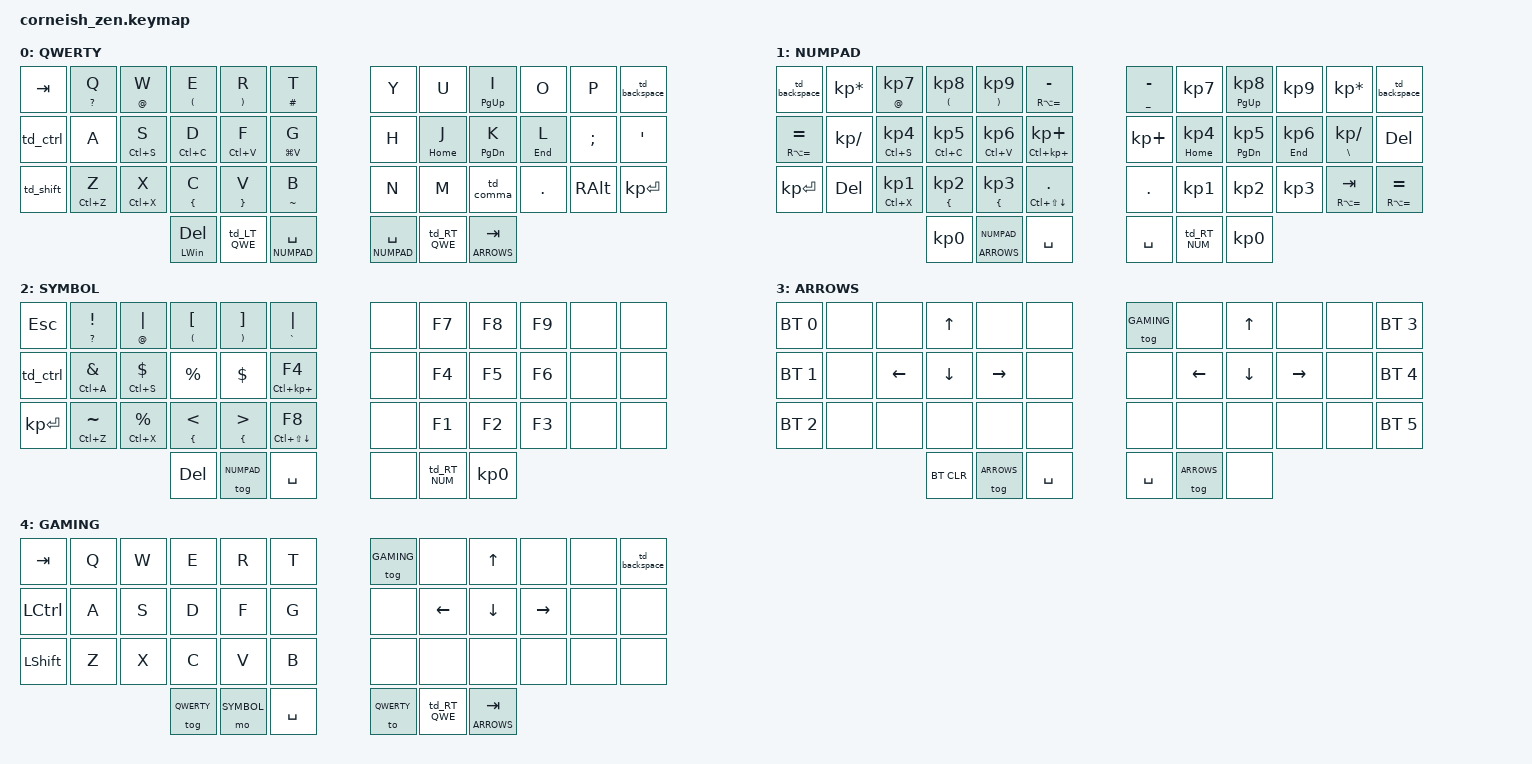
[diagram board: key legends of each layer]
#include <behaviors.dtsi>
#include <dt-bindings/zmk/keys.h>
#include <dt-bindings/zmk/bt.h>

/ {
  chosen {
    zmk,matrix_transform = &default_transform;
    //zmk,matrix_transform = &five_column_transform;
  };
};

#define QWERTY 0
#define NUMPAD 1
#define SYMBOL 2
#define ARROWS 3
#define GAMING 4

#define U_PSTE RS(LC(V))

&mt {
    tapping-term-ms = <250>;
    flavor = "tap-preferred";
};

/ {

/*      
 *       BEHAVIORS                      =====================================================================
 */

      behaviors {   

/*       Right Hand Layer Toggles       -------------------------------------
 *
 *       QWERTY LAYER   
 *
 *       Usage: &td_RT_QWE
 *       Hold: Momentary NUMPAD Layer
 *       Double Tap: Toggle NUMPAD Layer
 *       Tripple Tap: Toggle ARROWS Layer
 */

         td_RT_QWE: tap_dance_0 {    
               compatible = "zmk,behavior-tap-dance";  
               label = "TAP_DANCE_RT_QWERTY";   
               #binding-cells = <0>;    
               tapping-term-ms = <300>;    
               bindings = <&mo ARROWS>, <&tog NUMPAD>, <&tog ARROWS>; 
               };
 
/*       NUMPAD LAYER   
 *
 *       Usage: &td_RT_NUM
 *       Hold: Momentary QWERTY Layer
 *       Double Tap: Toggle ARROWS Layer
 */        

         td_RT_NUM: tap_dance_1 {    
               compatible = "zmk,behavior-tap-dance";  
               label = "TAP_DANCE_RT_NUMPAD";   
               #binding-cells = <0>;    
               tapping-term-ms = <300>;    
               bindings = <&mo NUMPAD>, <&tog NUMPAD>; 
               };
 

/*       Left Hand Layer Toggles       -------------------------------------
 *
 *       QWERTY LAYER   
 *
 *       Usage: &td_LT_QWE
 *       Hold: Momentary NUMPAD Layer
 *       Double Tap: Toggle ARROWS Layer
 */

         td_LT_QWE: tap_dance_2 {    
               compatible = "zmk,behavior-tap-dance";  
               label = "TAP_DANCE_LT_QWERTY";   
               #binding-cells = <0>;    
               tapping-term-ms = <300>;    
               bindings = <&mo SYMBOL>, <&tog ARROWS>; 
               };
 
/*       NUMPAD LAYER   
 *
 *       Usage: &td_LT_NUM
 *       Hold: Momentary QWERTY Layer
 *       Double Tap: Toggle QWERTY Layer
 */        

         td_LT_NUM: tap_dance_3 {    
               compatible = "zmk,behavior-tap-dance";  
               label = "TAP_DANCE_LT_NUMPAD";   
               #binding-cells = <0>;    
               tapping-term-ms = <300>;    
               bindings = <&mo QWERTY>, <&tog QWERTY>; 
               };
 

/*       Left SHIFT Key                   -------------------------------------
 *
 *       Usage: &td_shift
 *       Hold: SHIFT
 *       Double Tap: Caps Lock
 *       Tripple Tap: Caps Word
 */

         td_shift: tap_dance_4 {
              compatible = "zmk,behavior-tap-dance";
              label = "TAP_DANCE_SHIFT";
              #binding-cells = <0>;
              tapping-term-ms = <300>;
              bindings = <&kp LSHFT>, <&kp CAPSLOCK>, <&caps_word>;
         };

/*
 *       Tab Esc Win                     -------------------------------------
 *
 *       Usage: &td_tab
 *       Hold: Control
 *       Double Tap: Alt+Tab
 */

         td_tab: tap_dance_5 {
              compatible = "zmk,behavior-tap-dance";
              label = "TAP_DANCE_TAB";
              #binding-cells = <0>;
              tapping-term-ms = <300>;
              bindings = <&kp TAB>, <&kp LWIN>, <&kp ESC>;
         };         

/*
 *       Control and Alt Tab                     -------------------------------------
 *
 *       Usage: &td_ctrl
 *       Hold: Control
 *       Double Tap: Alt+Tab
 */

         td_ctrl: tap_dance_6 {
              compatible = "zmk,behavior-tap-dance";
              label = "TAP_DANCE_CONTROL";
              #binding-cells = <0>;
              tapping-term-ms = <300>;
              bindings = <&kp LCTRL>, <&kp LA(TAB)>, <&mac_split>;
         };  

/*
 *       Backspace                     -------------------------------------
 *
 *       Usage: &td_backspace
 *       Hold: Backspace
 *       Double Backspace
 *       Tripple Tap: Ctrl + Backspace
 */

         td_backspace: tap_dance_7 {
              compatible = "zmk,behavior-tap-dance";
              label = "TAP_DANCE_BACKSPACE";
              #binding-cells = <0>;
              tapping-term-ms = <100>;
              bindings = <&kp BSPC>, <&mac_db>, <&kp LC(BSPC)>;
         };  

/*
 *       Semicolon                     -------------------------------------
 *
 *       Usage: &td_comma
 *       Hold: Comma
 *       Double Ctrl + COMMA
 */

         td_comma: tap_dance_8 {
              compatible = "zmk,behavior-tap-dance";
              label = "TAP_DANCE_COMMA";
              #binding-cells = <0>;
              tapping-term-ms = <300>;
              bindings = <&kp COMMA>, <&kp LC(COMMA)>;
         };  

/*
 *       double zero hold tap                     -------------------------------------
 *
 *       Usage: &ht0 LC(V) 0
 */

         ht0: holdtap0 {
               compatible = "zmk,behavior-hold-tap";
               label = "HT_ZERO";
               #binding-cells = <2>;
               tapping-term-ms = <200>; 
               quick-tap-ms = <0>;
               flavor = "tap-preferred";
               bindings = <&kp>, <&mac_dz>;
         };


/*
 *       slipt screen hold tap                     -------------------------------------
 *
 *       Usage: &ht1 0 APOSTROPHE
 */

         ht1: holdtap1 {
               compatible = "zmk,behavior-hold-tap";
               label = "HT_SPLIT";
               #binding-cells = <2>;
               tapping-term-ms = <200>; 
               quick-tap-ms = <0>;
               flavor = "tap-preferred";
               bindings = <&mac_split>, <&kp>;
         };

/*
 *       slipt screen hold tap                     -------------------------------------
 *
 *       Usage: &ht3 LC(V) 0 
 */

         ht3: holdtap3 {
               compatible = "zmk,behavior-hold-tap";
               label = "HT_GST";
               #binding-cells = <2>;
               tapping-term-ms = <200>; 
               quick-tap-ms = <0>;
               flavor = "tap-preferred";
               bindings = <&kp>, <&mac_gst>;
         };



      };

/*      
 *       MACROS                           =====================================================================
 */

macros { 

/*       
 *       Double Zero   
 *
 *       Usage: &mac_dz
 */

        mac_dz: mac_doublezero {
            label = "MAC_DOUBLEZERO";
            compatible = "zmk,behavior-macro";
            #binding-cells = <0>;
            tap-ms = <10>;
            bindings
                = <&macro_tap &kp N0 &kp N0>;
        };

/*       
 *       Double Backspace   
 *
 *       Usage: &mac_db
 */

        mac_db: mac_doubleback {
            label = "MAC_DOUBLEBACK";
            compatible = "zmk,behavior-macro";
            #binding-cells = <0>;
            tap-ms = <10>;
            bindings
                = <&macro_tap &kp BSPC &kp BSPC>;
        };

/*       
 *       Split Screen   
 *
 *       Usage: &mac_split
 *
 */
        mac_split: mac_splitscreen {
            label = "MAC_SPLITSCREEN";
            compatible = "zmk,behavior-macro";
            #binding-cells = <0>;
            bindings
                 = <&macro_tap &kp LG(LEFT_ARROW)>
                 , <&macro_wait_time 500>
                 , <&macro_tap &kp LA(TAB)>
                 , <&macro_wait_time 500>
                 , <&macro_tap &kp LG(RIGHT_ARROW)>
                 ;
        };
    
/*       
 *       GST   
 *
 *       Usage: &mac_gst
 */

        mac_gst: mac_geest {
            label = "MAC_GST";
            compatible = "zmk,behavior-macro";
            #binding-cells = <0>;
            bindings
                = <&macro_tap &kp TAB &kp G &kp S &kp T &kp TAB &kp KP_N1 &kp TAB>;
        };

/*       
 *       xeroGST   
 *
 *       Usage: &mac_xeroGST
 */

        mac_xeroGST: mac_xeroogst {
            label = "MAC_XEROGST";
            compatible = "zmk,behavior-macro";
            #binding-cells = <0>;
            bindings
                = <&macro_tap &kp LC(A) &kp LC(C) &kp TAB &kp G &kp S &kp T &kp TAB &kp KP_N1 &kp TAB &kp LC(V) &kp LS(TAB) &kp LS(TAB) &kp LS(TAB) &kp LS(TAB) &kp LS(TAB) &kp LS(TAB) &kp LS(TAB) &kp END &kp MINUS &kp LC(V) &kp TAB >;
        };

/*       
 *       Alt Codes   
 */

        mac_Comma: mac_comma {
            label = "MAC_COMMA";
            compatible = "zmk,behavior-macro";
            #binding-cells = <0>;
            bindings
                = <&macro_tap &kp LEFT_ALT &kp KP_N6>;
        };

        mac_pasteVlu: mac_pastevlu {
            label = "MAC_PSTVLU";
            compatible = "zmk,behavior-macro";
            #binding-cells = <0>;
            bindings
                = <&macro_tap &kp LEFT_ALT &kp KP_N0 &kp KP_N9 &kp V>;
        };

};

combos {
      compatible = "zmk,combos";
      
      // Left-hand combos

        combo_clrfilter {
            timeout-ms = <50>;
            key-positions = <1 2>;
            bindings = <&kp KP_N9 &kp KP_N9 &kp KP_N1>;
        };

        combo_reffilter {
            timeout-ms = <50>;
            key-positions = <13 14>;
            bindings = <&kp LEFT_ALT &kp KP_N2>;
        }; 

        combo_comma {
            timeout-ms = <50>;
            key-positions = <14 15>;
            bindings = <&mac_Comma>;
        }; 

        combo_pstvlu {
            timeout-ms = <50>;
            key-positions = <15 16>;
            bindings = <&mac_pasteVlu>;
        };

        combo_xeroGST {
            timeout-ms = <50>;
            key-positions = <14 15 16>;
            bindings = <&mac_xeroGST>;
        }; 

        combo_arrowLayer {
            timeout-ms = <50>;
            key-positions = <37 38>;
            bindings = <&mo ARROWS>;          
        }; 


      // Right-hand combos

      combo_xeroGST {
            timeout-ms = <50>;
            key-positions = <19 20 21>;
            bindings = <&mac_xeroGST>;
        }; 

    };

/*       
 *      KEYMAP                            =====================================================================
 *      &kp - normal key press
 *      &mt - long key press, normal key press
 *      &td - tap dance - defined above (double tap, tripple tap, etc)
 *      &lt - layer tap - 
 */

        keymap {
                compatible = "zmk,keymap";

                qwerty_layer {
                        label = "QWERTY";
                        bindings = <
   &kp TAB        &mt QMARK Q    &mt AT W       &mt LPAR E        &mt RPAR R        &mt HASH T                                  &kp Y      &kp U       &mt PAGE_UP I        &kp O        &kp P       &td_backspace
   &td_ctrl       &kp A          &mt LC(S) S    &mt LC(C) D       &mt LC(V) F       &mt LG(V) G                           &kp H      &mt HOME J  &mt PAGE_DOWN K      &mt END L    &kp SEMI    &kp APOSTROPHE 
   &td_shift      &mt LC(Z) Z    &mt LC(X) X    &mt LBRC C        &mt RBRC V        &mt TILDE  B                                &kp N      &kp M       &td_comma            &kp DOT      &kp RALT    &kp KP_ENTER
                                                &mt LWIN DEL      &td_LT_QWE        &lt NUMPAD SPACE                            &lt NUMPAD SPACE       &td_RT_QWE           &lt ARROWS TAB

                        >;
                };

                numpad_layer {
                        label = "NUMPAD";
                        bindings = <
   &td_backspace         &kp KP_MULTIPLY    &mt AT KP_N7     &mt LPAR KP_N8    &mt RPAR KP_N9     &mt RA(EQUAL) MINUS          &mt UNDER MINUS     &kp KP_N7         &mt PAGE_UP KP_N8      &kp KP_N9       &kp KP_MULTIPLY          &td_backspace
   &mt RA(EQUAL) EQUAL   &kp KP_SLASH       &mt LC(S) KP_N4  &mt LC(C) KP_N5   &mt LC(V) KP_N6    &mt LC(KP_PLUS) KP_PLUS      &kp KP_PLUS         &mt HOME KP_N4    &mt PAGE_DOWN KP_N5    &mt END KP_N6   &mt BACKSLASH KP_SLASH   &kp DEL 
   &kp KP_ENTER          &kp DEL            &mt LC(X) KP_N1  &mt LBRC KP_N2    &mt LBRC KP_N3     &mt LC(LS(DOWN)) DOT         &kp DOT             &kp KP_N1         &kp KP_N2              &kp KP_N3       &mt RA(EQUAL) TAB        &mt RA(EQUAL) EQUAL
                                                             &kp KP_N0         &lt ARROWS NUMPAD  &kp SPACE                    &kp SPACE           &td_RT_NUM        &kp KP_N0

                        >;
                };

                symbol_layer {
                        label = "SYMBOL";
                        bindings = <
   &kp ESC        &mt QMARK EXCL    &mt AT PIPE     &mt LPAR LBKT    &mt RPAR RBKT     &mt GRAVE PIPE                       &none   &kp F7    &kp F8   &kp F9   &none    &none
   &td_ctrl       &mt LC(A) AMPS    &mt LC(S) DLLR  &kp PRCNT        &kp DLLR          &mt LC(KP_PLUS) F4                   &none   &kp F4    &kp F5   &kp F6   &none    &none 
   &kp KP_ENTER   &mt LC(Z) TILDE   &mt LC(X) PRCNT &mt LBRC LT      &mt LBRC GT       &mt LC(LS(DOWN)) F8                  &none   &kp F1    &kp F2   &kp F3   &none    &none
                                                    &kp DEL          &tog NUMPAD       &kp SPACE                            &none   &td_RT_NUM   &kp KP_N0

                        >;
                };

                arrows_layer {
                        label = "ARROWS";
                        bindings = <
   &bt BT_SEL 0   &none   &none       &kp UP       &none         &none                                                          &tog GAMING   &none         &kp UP      &none       &none   &bt BT_SEL 3
   &bt BT_SEL 1   &none   &kp LEFT    &kp DOWN     &kp RIGHT     &none                                                          &none         &kp LEFT      &kp DOWN    &kp RIGHT   &none   &bt BT_SEL 4
   &bt BT_SEL 2   &none   &none       &none        &none         &none                                                          &none         &none         &none       &none       &none   &bt BT_SEL 5
                                      &bt BT_CLR   &tog ARROWS   &kp SPACE                                                      &kp SPACE  &tog ARROWS   &none         
                        >;
                };

               gaming_layer {
                        label = "GAMING";
                        bindings = <
   &kp TAB      &kp Q    &kp W    &kp E    &kp R    &kp T                                                                       &tog GAMING   &none         &kp UP      &none      &none    &td_backspace
   &kp LCTRL    &kp A    &kp S    &kp D    &kp F    &kp G                                                                       &none         &kp LEFT      &kp DOWN   &kp RIGHT   &none    &none 
   &kp LSHIFT   &kp Z    &kp X    &kp C    &kp V    &kp B                                                                       &none         &none         &none      &none       &none    &none
                     &tog QWERTY    &mo SYMBOL      &kp SPACE                                                                   &to QWERTY    &td_RT_QWE           &lt ARROWS TAB

                        >;
                };
        };
};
